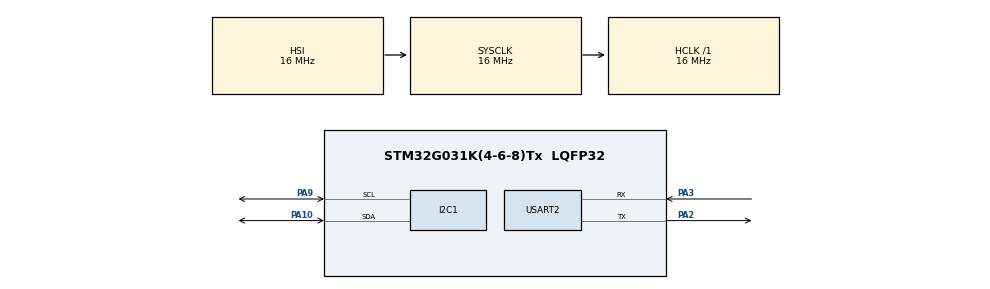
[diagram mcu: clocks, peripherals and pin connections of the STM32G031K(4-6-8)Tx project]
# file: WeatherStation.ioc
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I2C1.Timing=0x00503D58
Mcu.Family=STM32G0
Mcu.Name=STM32G031K(4-6-8)Tx
Mcu.Package=LQFP32
PA10.Mode=I2C
PA10.Signal=I2C1_SDA
PA2.Mode=Asynchronous
PA2.Signal=USART2_TX
PA3.Mode=Asynchronous
PA3.Signal=USART2_RX
PA9.Mode=I2C
PA9.Signal=I2C1_SCL
ProjectManager.HeapSize=0x200
ProjectManager.StackSize=0x400
ProjectManager.TargetToolchain=STM32CubeIDE
RCC.AHBFreq_Value=16000000
RCC.CortexFreq_Value=16000000
RCC.EXTERNAL_CLOCK_VALUE=12288000
RCC.HCLKFreq_Value=16000000
RCC.HSE_VALUE=8000000
RCC.HSI_VALUE=16000000
RCC.LSE_VALUE=32768
RCC.SYSCLKFreq_VALUE=16000000
RCC.VCOOutputFreq_Value=128000000
USART2.VirtualMode-Asynchronous=VM_ASYNC
board=NUCLEO-G031K8

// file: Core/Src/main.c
/* USER CODE BEGIN Header */
/**
 ******************************************************************************
 * @file           : main.c
 * @brief          : Main program body
 ******************************************************************************
 * @attention
 *
 * Copyright (c) 2026 STMicroelectronics.
 * All rights reserved.
 *
 * This software is licensed under terms that can be found in the LICENSE file
 * in the root directory of this software component.
 * If no LICENSE file comes with this software, it is provided AS-IS.
 *
 ******************************************************************************
 */
/* USER CODE END Header */
#include "main.h"
#include "i2c.h"
#include "usart.h"
#include "gpio.h"

/* USER CODE BEGIN Includes */

/**
 * Project: STM32 Weather Station
 * Author: Mert Gungordu
 * Date: Jan 2026
 * Description: Custom I2C driver for the BMP280 Temperature/Pressure sensor on STM32G0.
 * Hardware: STM32 Nucleo-G031K8
 */

#define CSV_FORMAT_ON 1
#include <stdio.h>
#include <string.h>
/* USER CODE END Includes */

/* USER CODE BEGIN PV */
// Calibration parameters (factory constants)
uint16_t dig_T1;
int16_t  dig_T2, dig_T3;
uint16_t dig_P1;
int16_t  dig_P2, dig_P3, dig_P4, dig_P5, dig_P6, dig_P7, dig_P8, dig_P9;

// Variable to hold "fine temperature" for pressure calculation
int32_t t_fine;
/* USER CODE END PV */

void SystemClock_Config(void);

/* USER CODE BEGIN 0 */
int32_t BMP280_Compensate_T(int32_t adc_T) {
	int32_t var1, var2, T;

	var1 = ((((adc_T >> 3) - ((int32_t) dig_T1 << 1))) * ((int32_t) dig_T2))
			>> 11;

	var2 = (((((adc_T >> 4) - ((int32_t) dig_T1))
			* ((adc_T >> 4) - ((int32_t) dig_T1))) >> 12) * ((int32_t) dig_T3))
			>> 14;

	t_fine = var1 + var2; // Store this for pressure calc later

	T = (t_fine * 5 + 128) >> 8;
	return T; // Returns temperature in DegC * 100 (e.g., 2550 = 25.50 C)
}

// Returns pressure in Pascals (Pa)
uint32_t BMP280_Compensate_P(int32_t adc_P) {
	int64_t var1, var2, p;

	// Uses t_fine (calculated during Temp step)
	var1 = ((int64_t) t_fine) - 128000;

	var2 = var1 * var1 * (int64_t) dig_P6;
	var2 = var2 + ((var1 * (int64_t) dig_P5) << 17);
	var2 = var2 + (((int64_t) dig_P4) << 35);

	var1 = ((var1 * var1 * (int64_t) dig_P3) >> 8)
			+ ((var1 * (int64_t) dig_P2) << 12);
	var1 = (((((int64_t) 1) << 47) + var1)) * ((int64_t) dig_P1) >> 33;

	if (var1 == 0) {
		return 0; // Avoid exception caused by division by zero
	}

	p = 1048576 - adc_P;
	p = (((p << 31) - var2) * 3125) / var1;

	var1 = (((int64_t) dig_P9) * (p >> 13) * (p >> 13)) >> 25;
	var2 = (((int64_t) dig_P8) * p) >> 19;

	p = ((p + var1 + var2) >> 8) + (((int64_t) dig_P7) << 4);

	return (uint32_t) p / 256;
}
/* USER CODE END 0 */

int main(void) {

	/* MCU Configuration--------------------------------------------------------*/

	/* Reset of all peripherals, Initializes the Flash interface and the Systick. */
	HAL_Init();

	/* Configure the system clock */
	SystemClock_Config();

	/* Initialize all configured peripherals */
	MX_GPIO_Init();
	MX_I2C1_Init();
	MX_USART2_UART_Init();

	/* USER CODE BEGIN 2 */
#define BMP280_ADDR (0x76 << 1)

	// --- STEP 1: WAKE UP THE SENSOR ---
	uint8_t config[2];
	config[0] = 0xF4; // Register Address: ctrl_meas
	config[1] = 0x27; // Value: 00100111 (Normal Mode, x1 Oversampling)

	// Send the configuration FIRST
	if (HAL_I2C_Master_Transmit(&hi2c1, BMP280_ADDR, config, 2, 100)
			== HAL_OK) {
		HAL_UART_Transmit(&huart2, (uint8_t*) "Sensor Configured.\r\n", 20,
				100);
	} else {
		HAL_UART_Transmit(&huart2, (uint8_t*) "Config Failed.\r\n", 16, 100);
	}

	// --- STEP 2: READ CALIBRATION DATA (Do this AFTER transmit) ---
	uint8_t trimdata[24];
	HAL_I2C_Mem_Read(&hi2c1, BMP280_ADDR, 0x88, 1, trimdata, 24, 100);

	// Combine bytes (Little Endian) into our global variables
	dig_T1 = (trimdata[1] << 8) | trimdata[0];
	dig_T2 = (trimdata[3] << 8) | trimdata[2];
	dig_T3 = (trimdata[5] << 8) | trimdata[4];

	dig_P1 = (trimdata[7] << 8) | trimdata[6];
	dig_P2 = (trimdata[9] << 8) | trimdata[8];
	dig_P3 = (trimdata[11] << 8) | trimdata[10];
	dig_P4 = (trimdata[13] << 8) | trimdata[12];
	dig_P5 = (trimdata[15] << 8) | trimdata[14];
	dig_P6 = (trimdata[17] << 8) | trimdata[16];
	dig_P7 = (trimdata[19] << 8) | trimdata[18];
	dig_P8 = (trimdata[21] << 8) | trimdata[20];
	dig_P9 = (trimdata[23] << 8) | trimdata[22];

	/* USER CODE END 2 */

	/* Infinite loop */
	while (1) {

		/* USER CODE BEGIN 3 */
		uint8_t rawData[6];
		HAL_I2C_Mem_Read(&hi2c1, BMP280_ADDR, 0xF7, 1, rawData, 6, 100);

		// 1. Reconstruct Raw Values
		int32_t rawPress = (rawData[0] << 12) | (rawData[1] << 4)
				| (rawData[2] >> 4);
		int32_t rawTemp = (rawData[3] << 12) | (rawData[4] << 4)
				| (rawData[5] >> 4);

		// 2. Calculate Real Values (ORDER MATTERS!)
		int32_t temp_100 = BMP280_Compensate_T(rawTemp); // Updates t_fine
		uint32_t press_Pa = BMP280_Compensate_P(rawPress); // Uses t_fine

		// 3. Format and Print
		// We convert Pascals (Pa) to Hectopascals (hPa) by dividing by 100
		// Standard sea level pressure is roughly 1013 hPa.
		char msg[64];

#if CSV_FORMAT_ON
		sprintf(msg, "%ld,%ld\r\n", (temp_100 / 100), (press_Pa / 100));
#else
		sprintf(msg, "Temp: %ld.%02ld C | Press: %ld hPa\r\n", temp_100 / 100,
				temp_100 % 100, press_Pa / 100);
#endif
		HAL_UART_Transmit(&huart2, (uint8_t*) msg, strlen(msg), 100);
		HAL_Delay(500);
	}
	/* USER CODE END 3 */
}

void SystemClock_Config(void) {
	RCC_OscInitTypeDef RCC_OscInitStruct = { 0 };
	RCC_ClkInitTypeDef RCC_ClkInitStruct = { 0 };

	/** Configure the main internal regulator output voltage
	 */
	HAL_PWREx_ControlVoltageScaling(PWR_REGULATOR_VOLTAGE_SCALE1);

	/** Initializes the RCC Oscillators according to the specified parameters
	 * in the RCC_OscInitTypeDef structure.
	 */
	RCC_OscInitStruct.OscillatorType = RCC_OSCILLATORTYPE_HSI;
	RCC_OscInitStruct.HSIState = RCC_HSI_ON;
	RCC_OscInitStruct.HSIDiv = RCC_HSI_DIV1;
	RCC_OscInitStruct.HSICalibrationValue = RCC_HSICALIBRATION_DEFAULT;
	RCC_OscInitStruct.PLL.PLLState = RCC_PLL_NONE;
	if (HAL_RCC_OscConfig(&RCC_OscInitStruct) != HAL_OK) {
		Error_Handler();
	}

	/** Initializes the CPU, AHB and APB buses clocks
	 */
	RCC_ClkInitStruct.ClockType = RCC_CLOCKTYPE_HCLK | RCC_CLOCKTYPE_SYSCLK
			| RCC_CLOCKTYPE_PCLK1;
	RCC_ClkInitStruct.SYSCLKSource = RCC_SYSCLKSOURCE_HSI;
	RCC_ClkInitStruct.AHBCLKDivider = RCC_SYSCLK_DIV1;
	RCC_ClkInitStruct.APB1CLKDivider = RCC_HCLK_DIV1;

	if (HAL_RCC_ClockConfig(&RCC_ClkInitStruct, FLASH_LATENCY_0) != HAL_OK) {
		Error_Handler();
	}
}

void Error_Handler(void) {
	__disable_irq();
	while (1) {
	}
}
